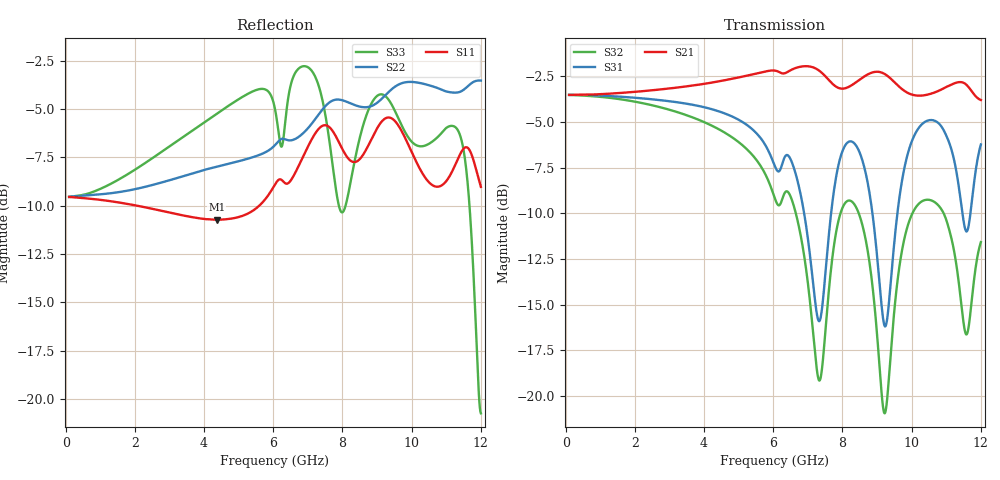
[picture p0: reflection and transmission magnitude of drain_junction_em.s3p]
! Drain junction EM block (Taper2 + Tee1), Momentum 2026-10-16, substrate fr4_1p52, TML ports, no flange
! Built-in geometry: start 2.5 mm, OLPin=2.08236 mm, OW0=9.29274 mm, OWb=2.01989 mm
! Ports: 1 = RF_drain, 2 = main line (to TL1, width OW0), 3 = bias branch (to drain_bias X2, width OWb). 0 Hz row = ideal DC junction
# Hz S RI R 50
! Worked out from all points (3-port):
!   478 points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, 100 MHz to 12 GHz, reference 50 ohm
!   strongest paths, dB at 100 MHz, 6.215 GHz, 8.111 GHz, 9.955 GHz, 12 GHz:
!     S21: -3.5, -2.3, -3.1, -3.5, -3.8
!     S31: -3.5, -7.5, -6.2, -6.3, -6.2
!     S32: -3.5, -9.4, -9.4, -10.3, -11.6
!   lowest |S11| = -10.7 dB at 4.365 GHz (marker M1), VSWR 1.82, Z = 27.5 + j2.35 ohm
!   |S11| at or under -10 dB: 2.081 GHz to 5.591 GHz (3.51 GHz wide, 91.5 % of centre)
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1e8  -0.3332 0.00307  0.6666 -0.0104  0.6663 -0.0145
     0.6666 -0.0104  -0.3334 -0.00298  0.6664 -0.00843
     0.6663 -0.0145  0.6664 -0.00843  -0.3337 0.00108
4.365085e9  -0.2885 0.0391  0.537 -0.4859  0.3037 -0.5217
            0.537 -0.4859  -0.3799 -0.1223  0.4361 -0.3197
            0.3037 -0.5217  0.4361 -0.3197  -0.4683 0.2832
6.054591e9  -0.3591 0.0201  0.3578 -0.6893  -0.00092 -0.4238
            0.3578 -0.6893  -0.4239 -0.1637  0.1969 -0.2841
            -0.00092 -0.4238  0.1969 -0.2841  -0.0681 0.5562
6.92332e9  -0.4324 0.0505  0.2259 -0.7661  -0.1146 -0.2808
           0.2259 -0.7661  -0.4626 -0.1712  0.0749 -0.219
           -0.1146 -0.2808  0.0749 -0.219  0.2815 0.6695
7.794599e9  -0.4087 0.2535  0.0578 -0.7018  0.1909 -0.3365
            0.0578 -0.7018  -0.5814 -0.1263  0.2707 -0.0377
            0.1909 -0.3365  0.2707 -0.0377  0.1314 -0.3319
8.808073e9  -0.3987 0.2385  -0.0127 -0.7643  -0.1819 -0.2944
            -0.0127 -0.7643  -0.5669 -0.0738  0.1076 -0.1946
            -0.1819 -0.2944  0.1076 -0.1946  0.0819 0.5692
9.293576e9  -0.3849 0.3713  -0.1359 -0.7398  0.0234 -0.1614
            -0.1359 -0.7398  -0.6119 -0.0852  0.0979 -0.0128
            0.0234 -0.1614  0.0979 -0.0128  0.5959 0.08
9.78941e9  -0.238 0.4147  -0.18 -0.6596  0.1331 -0.399
           -0.18 -0.6596  -0.658 -0.0413  0.2694 0.013
           0.1331 -0.399  0.2694 0.013  0.144 -0.473
1.123559e10  -0.1926 0.3498  -0.2969 -0.6528  -0.3217 -0.2976
             -0.2969 -0.6528  -0.6205 0.00718  0.1502 -0.1953
             -0.3217 -0.2976  0.1502 -0.1953  -0.0958 0.498
1.2e10  -0.0036 0.3541  -0.3726 -0.527  -0.2088 -0.4409
        -0.3726 -0.527  -0.6665 0.0201  0.2479 -0.0902
        -0.2088 -0.4409  0.2479 -0.0902  -0.0408 -0.0823
